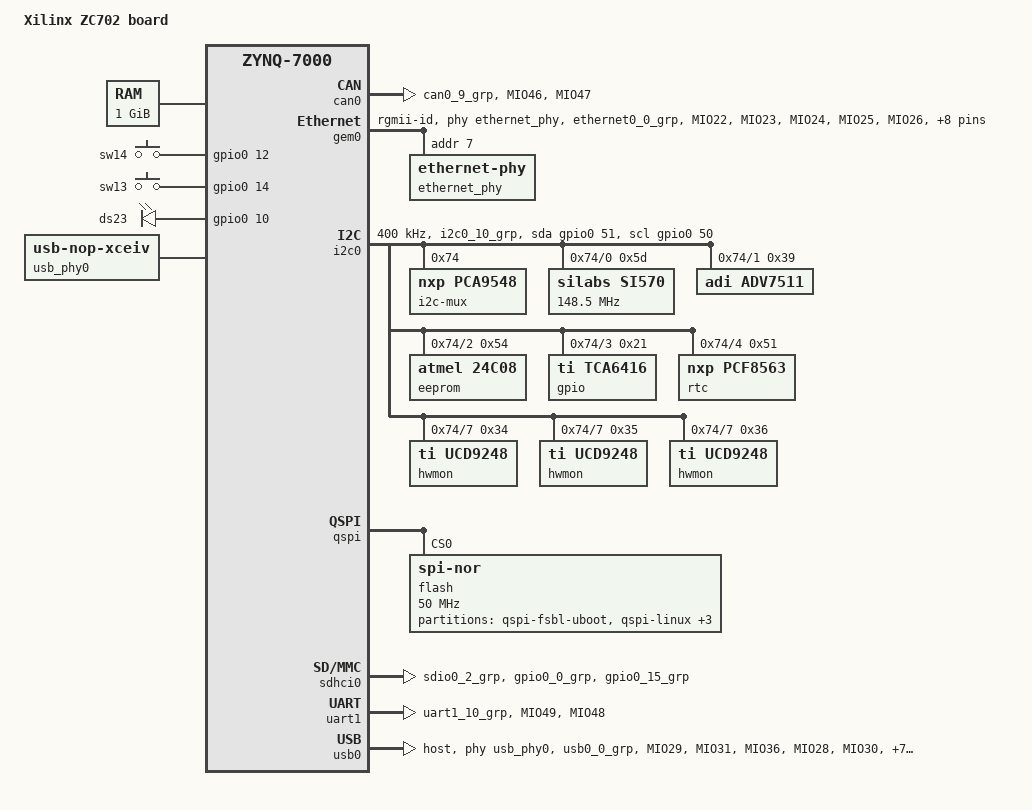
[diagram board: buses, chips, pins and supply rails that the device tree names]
// SPDX-License-Identifier: GPL-2.0
/*
 *  Copyright (C) 2011 - 2014 Xilinx
 *  Copyright (C) 2012 National Instruments Corp.
 */
/dts-v1/;
#include "zynq-7000.dtsi"
#include <dt-bindings/gpio/gpio.h>

/ {
	model = "Xilinx ZC702 board";
	compatible = "xlnx,zynq-zc702", "xlnx,zynq-7000";

	aliases {
		ethernet0 = &gem0;
		i2c0 = &i2c0;
		serial0 = &uart1;
		spi0 = &qspi;
		mmc0 = &sdhci0;
		nvmem0 = &eeprom;
		rtc0 = &rtc;
	};

	memory@0 {
		device_type = "memory";
		reg = <0x0 0x40000000>;
	};

	chosen {
		bootargs = "";
		stdout-path = "serial0:115200n8";
	};

	gpio-keys {
		compatible = "gpio-keys";
		autorepeat;
		switch-14 {
			label = "sw14";
			gpios = <&gpio0 12 0>;
			linux,code = <108>; /* down */
			wakeup-source;
			autorepeat;
		};
		switch-13 {
			label = "sw13";
			gpios = <&gpio0 14 0>;
			linux,code = <103>; /* up */
			wakeup-source;
			autorepeat;
		};
	};

	leds {
		compatible = "gpio-leds";

		led-ds23 {
			label = "ds23";
			gpios = <&gpio0 10 0>;
			linux,default-trigger = "heartbeat";
		};
	};

	usb_phy0: phy0 {
		compatible = "usb-nop-xceiv";
		#phy-cells = <0>;
	};
};

&can0 {
	status = "okay";
	pinctrl-names = "default";
	pinctrl-0 = <&pinctrl_can0_default>;
};

&clkc {
	ps-clk-frequency = <33333333>;
};

&gem0 {
	status = "okay";
	phy-mode = "rgmii-id";
	phy-handle = <&ethernet_phy>;
	pinctrl-names = "default";
	pinctrl-0 = <&pinctrl_gem0_default>;

	ethernet_phy: ethernet-phy@7 {
		reg = <7>;
	};
};

&gpio0 {
	pinctrl-names = "default";
	pinctrl-0 = <&pinctrl_gpio0_default>;
};

&i2c0 {
	status = "okay";
	clock-frequency = <400000>;
	pinctrl-names = "default", "gpio";
	pinctrl-0 = <&pinctrl_i2c0_default>;
	pinctrl-1 = <&pinctrl_i2c0_gpio>;
	scl-gpios = <&gpio0 50 (GPIO_ACTIVE_HIGH | GPIO_OPEN_DRAIN)>;
	sda-gpios = <&gpio0 51 (GPIO_ACTIVE_HIGH | GPIO_OPEN_DRAIN)>;

	i2c-mux@74 {
		compatible = "nxp,pca9548";
		#address-cells = <1>;
		#size-cells = <0>;
		reg = <0x74>;

		i2c@0 {
			#address-cells = <1>;
			#size-cells = <0>;
			reg = <0>;
			si570: clock-generator@5d {
				#clock-cells = <0>;
				compatible = "silabs,si570";
				temperature-stability = <50>;
				reg = <0x5d>;
				factory-fout = <156250000>;
				clock-frequency = <148500000>;
			};
		};

		i2c@1 {
			#address-cells = <1>;
			#size-cells = <0>;
			reg = <1>;
			adv7511: hdmi-tx@39 {
				compatible = "adi,adv7511";
				reg = <0x39>;
				adi,input-depth = <8>;
				adi,input-colorspace = "yuv422";
				adi,input-clock = "1x";
				adi,input-style = <3>;
				adi,input-justification = "right";
			};
		};

		i2c@2 {
			#address-cells = <1>;
			#size-cells = <0>;
			reg = <2>;
			eeprom: eeprom@54 {
				compatible = "atmel,24c08";
				reg = <0x54>;
			};
		};

		i2c@3 {
			#address-cells = <1>;
			#size-cells = <0>;
			reg = <3>;
			gpio@21 {
				compatible = "ti,tca6416";
				reg = <0x21>;
				gpio-controller;
				#gpio-cells = <2>;
			};
		};

		i2c@4 {
			#address-cells = <1>;
			#size-cells = <0>;
			reg = <4>;
			rtc: rtc@51 {
				compatible = "nxp,pcf8563";
				reg = <0x51>;
			};
		};

		i2c@7 {
			#address-cells = <1>;
			#size-cells = <0>;
			reg = <7>;
			hwmon@34 {
				compatible = "ti,ucd9248";
				reg = <0x34>;
			};
			hwmon@35 {
				compatible = "ti,ucd9248";
				reg = <0x35>;
			};
			hwmon@36 {
				compatible = "ti,ucd9248";
				reg = <0x36>;
			};
		};
	};
};

&pinctrl0 {
	pinctrl_can0_default: can0-default {
		mux {
			function = "can0";
			groups = "can0_9_grp";
		};

		conf {
			groups = "can0_9_grp";
			slew-rate = <0>;
			power-source = <1>;
		};

		conf-rx {
			pins = "MIO46";
			bias-high-impedance;
		};

		conf-tx {
			pins = "MIO47";
			bias-disable;
		};
	};

	pinctrl_gem0_default: gem0-default {
		mux {
			function = "ethernet0";
			groups = "ethernet0_0_grp";
		};

		conf {
			groups = "ethernet0_0_grp";
			slew-rate = <0>;
			power-source = <4>;
		};

		conf-rx {
			pins = "MIO22", "MIO23", "MIO24", "MIO25", "MIO26", "MIO27";
			bias-high-impedance;
			low-power-disable;
		};

		conf-tx {
			pins = "MIO16", "MIO17", "MIO18", "MIO19", "MIO20", "MIO21";
			bias-disable;
			low-power-enable;
		};

		mux-mdio {
			function = "mdio0";
			groups = "mdio0_0_grp";
		};

		conf-mdio {
			groups = "mdio0_0_grp";
			slew-rate = <0>;
			power-source = <1>;
			bias-disable;
		};
	};

	pinctrl_gpio0_default: gpio0-default {
		mux {
			function = "gpio0";
			groups = "gpio0_7_grp", "gpio0_8_grp", "gpio0_9_grp",
				 "gpio0_10_grp", "gpio0_11_grp", "gpio0_12_grp",
				 "gpio0_13_grp", "gpio0_14_grp";
		};

		conf {
			groups = "gpio0_7_grp", "gpio0_8_grp", "gpio0_9_grp",
				 "gpio0_10_grp", "gpio0_11_grp", "gpio0_12_grp",
				 "gpio0_13_grp", "gpio0_14_grp";
			slew-rate = <0>;
			power-source = <1>;
		};

		conf-pull-up {
			pins = "MIO9", "MIO10", "MIO11", "MIO12", "MIO13", "MIO14";
			bias-pull-up;
		};

		conf-pull-none {
			pins = "MIO7", "MIO8";
			bias-disable;
		};
	};

	pinctrl_i2c0_default: i2c0-default {
		mux {
			groups = "i2c0_10_grp";
			function = "i2c0";
		};

		conf {
			groups = "i2c0_10_grp";
			bias-pull-up;
			slew-rate = <0>;
			power-source = <1>;
		};
	};

	pinctrl_i2c0_gpio: i2c0-gpio-grp {
		mux {
			groups = "gpio0_50_grp", "gpio0_51_grp";
			function = "gpio0";
		};

		conf {
			groups = "gpio0_50_grp", "gpio0_51_grp";
			slew-rate = <0>;
			power-source = <1>;
		};
	};

	pinctrl_sdhci0_default: sdhci0-default {
		mux {
			groups = "sdio0_2_grp";
			function = "sdio0";
		};

		conf {
			groups = "sdio0_2_grp";
			slew-rate = <0>;
			power-source = <1>;
			bias-disable;
		};

		mux-cd {
			groups = "gpio0_0_grp";
			function = "sdio0_cd";
		};

		conf-cd {
			groups = "gpio0_0_grp";
			bias-high-impedance;
			bias-pull-up;
			slew-rate = <0>;
			power-source = <1>;
		};

		mux-wp {
			groups = "gpio0_15_grp";
			function = "sdio0_wp";
		};

		conf-wp {
			groups = "gpio0_15_grp";
			bias-high-impedance;
			bias-pull-up;
			slew-rate = <0>;
			power-source = <1>;
		};
	};

	pinctrl_uart1_default: uart1-default {
		mux {
			groups = "uart1_10_grp";
			function = "uart1";
		};

		conf {
			groups = "uart1_10_grp";
			slew-rate = <0>;
			power-source = <1>;
		};

		conf-rx {
			pins = "MIO49";
			bias-high-impedance;
		};

		conf-tx {
			pins = "MIO48";
			bias-disable;
		};
	};

	pinctrl_usb0_default: usb0-default {
		mux {
			groups = "usb0_0_grp";
			function = "usb0";
		};

		conf {
			groups = "usb0_0_grp";
			slew-rate = <0>;
			power-source = <1>;
		};

		conf-rx {
			pins = "MIO29", "MIO31", "MIO36";
			bias-high-impedance;
		};

		conf-tx {
			pins = "MIO28", "MIO30", "MIO32", "MIO33", "MIO34",
			       "MIO35", "MIO37", "MIO38", "MIO39";
			bias-disable;
		};
	};
};

&qspi {
	bootph-all;
	status = "okay";
	num-cs = <1>;
	flash@0 {
		compatible = "jedec,spi-nor";
		reg = <0x0>;
		spi-tx-bus-width = <1>;
		spi-rx-bus-width = <4>;
		spi-max-frequency = <50000000>;
		partitions {
			compatible = "fixed-partitions";
			#address-cells = <1>;
			#size-cells = <1>;
			partition@0 {
				label = "qspi-fsbl-uboot";
				reg = <0x0 0x100000>;
			};
			partition@100000 {
				label = "qspi-linux";
				reg = <0x100000 0x500000>;
			};
			partition@600000 {
				label = "qspi-device-tree";
				reg = <0x600000 0x20000>;
			};
			partition@620000 {
				label = "qspi-rootfs";
				reg = <0x620000 0x5e0000>;
			};
			partition@c00000 {
				label = "qspi-bitstream";
				reg = <0xc00000 0x400000>;
			};
		};
	};
};

&sdhci0 {
	bootph-all;
	status = "okay";
	pinctrl-names = "default";
	pinctrl-0 = <&pinctrl_sdhci0_default>;
};

&uart1 {
	bootph-all;
	status = "okay";
	pinctrl-names = "default";
	pinctrl-0 = <&pinctrl_uart1_default>;
};

&usb0 {
	status = "okay";
	dr_mode = "host";
	usb-phy = <&usb_phy0>;
	pinctrl-names = "default";
	pinctrl-0 = <&pinctrl_usb0_default>;
};
